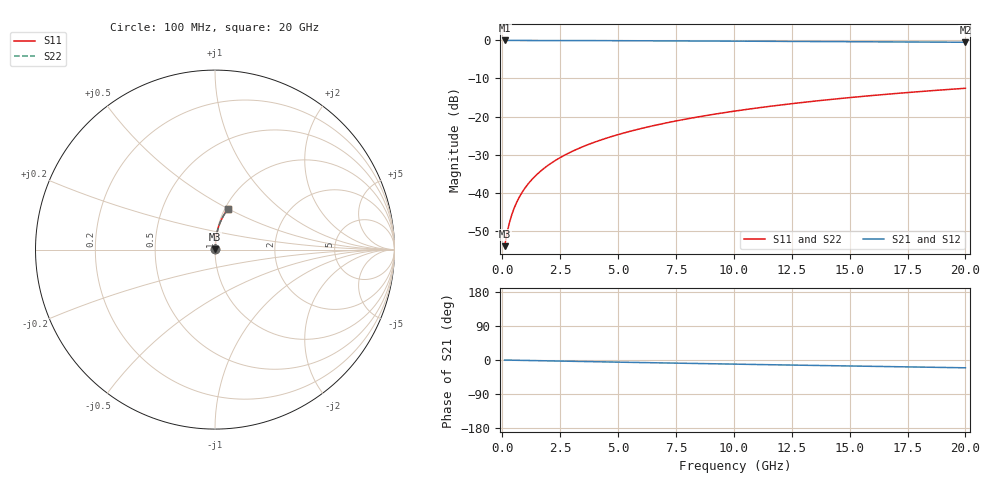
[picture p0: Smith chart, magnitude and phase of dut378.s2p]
! Touchstone file exported from HFSS 2024.1.0
!  File:  C:/UserFiles/LocalFiles/RDL_TSV_Batchsim/temp_RDL_bottom_378_1779613677.aedt
!  Generated:  05:11:09 PM May 24, 2026
!  Design:  RDL_bottom
!  Project:  temp_RDL_bottom_378_1779613677
!  Setup:  Setup1
!  Solution:  Sweep
! Variables:
!  dtsv = 10.80580581um
!  hbump = 3um
!  htsv = 74.81um
!  ldown = 264.04um
!  lrdl = 100um
!  p = 40
!  p1 = 42.67um
!  rhole = 1um
!  t = 450um
!  tdown = 4.29um
!  trdl = 3.915915916um
!  wdown = 15.3um
!  wrdl = 20um
# GHz S MA R 50.000000
! Terminal data exported
! Port[1] = RDL1_T1
! Port[2] = RDL1_T2
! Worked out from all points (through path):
!   200 points, 100 MHz to 20 GHz, reference 50 ohm
!   highest |S21| = -0.01 dB at 100 MHz (marker M1); lowest = -0.5 dB at 20 GHz (marker M2)
!   group delay of S21, straight-line fit = 2.84 ps
!   lowest |S11| = -54.1 dB at 100 MHz (marker M3), VSWR 1.00, Z = 50.2 + j0.122 ohm
!   |S11| at or under -10 dB: start of sweep to end of sweep
!   |S22| runs from -54.1 to -12.6 dB; largest |S21 - S12| = 2.6e-15
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0.1  0.001981 38.0  0.9984 -0.1  0.9984 -0.1  0.001981 38.0
! Gamma 0 0 0 0
! Port Impedance 50 0 50 0
0.2  0.002899 56.2  0.9984 -0.2  0.9984 -0.2  0.002899 56.2
0.3  0.003943 65.0  0.9983 -0.4  0.9983 -0.4  0.003943 65.0
0.4  0.005023 70.1  0.9983 -0.5  0.9983 -0.5  0.005023 70.1
0.5  0.00612 73.4  0.9982 -0.6  0.9982 -0.6  0.00612 73.4
0.6  0.007226 75.7  0.9981 -0.7  0.9981 -0.7  0.007226 75.7
0.8  0.009463 78.8  0.998 -0.9  0.998 -0.9  0.009463 78.8
1.1  0.01285 81.3  0.9978 -1.3  0.9978 -1.3  0.01285 81.3
1.5  0.01741 83.1  0.9975 -1.7  0.9975 -1.7  0.01741 83.1
1.8  0.02084 83.9  0.9972 -2.1  0.9972 -2.1  0.02084 83.9
2.1  0.02428 84.4  0.9969 -2.4  0.9969 -2.4  0.02428 84.4
2.7  0.03118 84.9  0.9961 -3.1  0.9961 -3.1  0.03118 84.9
3.5  0.04041 85.2  0.9947 -4.0  0.9947 -4.0  0.04041 85.2
4.2  0.04854 85.2  0.9934 -4.8  0.9934 -4.8  0.04854 85.2
5  0.05788 85.0  0.9916 -5.7  0.9916 -5.7  0.05787 85.0
5.9  0.06845 84.6  0.9894 -6.6  0.9894 -6.6  0.06845 84.6
6.8  0.0791 84.1  0.9871 -7.6  0.9871 -7.6  0.0791 84.1
8.3  0.097 83.2  0.983 -9.2  0.983 -9.2  0.097 83.2
10.1  0.1186 81.8  0.9777 -11.0  0.9777 -11.0  0.1186 81.8
13.4  0.1583 78.9  0.9675 -14.3  0.9675 -14.3  0.1583 78.9
16.7  0.1973 75.7  0.9567 -17.5  0.9567 -17.5  0.1973 75.7
20  0.2351 72.5  0.9453 -20.6  0.9453 -20.6  0.2351 72.5
